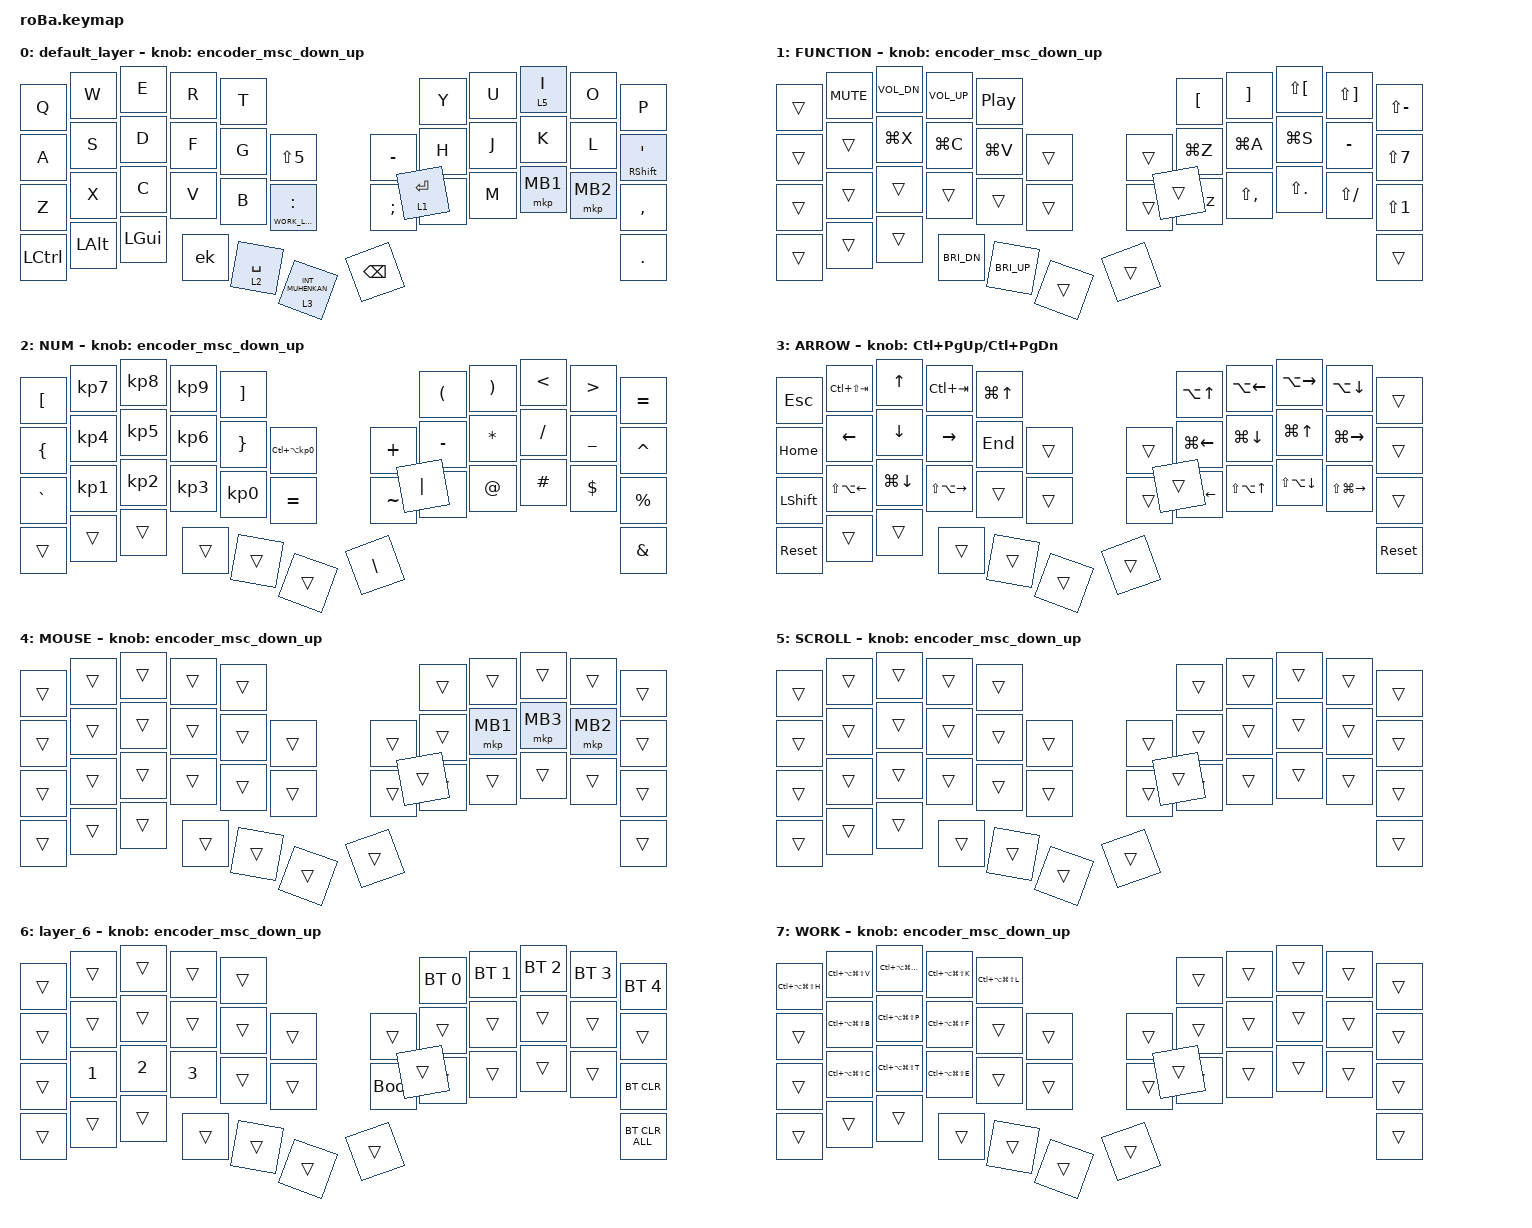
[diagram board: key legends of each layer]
// このキーマップ全体で使う基本ビヘイビアとキーコード定義。
// エンコーダのスクロール量を調整（SCRL_UP/DOWN に反映）。

#define ZMK_POINTING_DEFAULT_SCRL_VAL 80

#include <behaviors.dtsi>
#include <dt-bindings/zmk/bt.h>
#include <dt-bindings/zmk/keys.h>
#include <dt-bindings/zmk/pointing.h>

// 左エンコーダのスクロール量（小さいほど滑らか）。

#define ENCODER_SCROLL_STEP 4
#define ENC_SCRL_UP MOVE_Y(ENCODER_SCROLL_STEP)
#define ENC_SCRL_DOWN MOVE_Y(-ENCODER_SCROLL_STEP)

// ホールド判定を長めにする共通タッピング時間。

#define HOLD_TAPPING_TERM_MS 198
#define WORK_LAYER 7

// &mt のモッドタップ設定を共通調整。

&mt {
    flavor = "balanced";
    quick-tap-ms = <0>;
    tapping-term-ms = <HOLD_TAPPING_TERM_MS>;
};

// &lt のレイヤータップ判定を共通調整。

&lt { tapping-term-ms = <HOLD_TAPPING_TERM_MS>; };

// トラックボールの動作設定（レイヤ番号は下のキーマップ参照）。

&trackball {
    // Disable auto layer switching to avoid unintended clicks.

    automouse-layer = <0>;
    scroll-layers = <5>;

    // arrows {
    //     layers = <3>;
    //     bindings =
    //         <&kp RIGHT_ARROW>,
    //         <&kp LEFT_ARROW>,
    //         <&kp UP_ARROW>,
    //         <&kp DOWN_ARROW>;
    //     tick = <10>;
    //     wait-ms = <5>;
    //     tap-ms = <5>;
    // };
};

/ {
    combos {
        compatible = "zmk,combos";

        // よく使う操作の2キーコンボ。

        tab {
            bindings = <&kp TAB>;
            key-positions = <11 12>;
        };

        shift_tab {
            bindings = <&kp LS(TAB)>;
            key-positions = <12 13>;
        };

        muhennkann {
            bindings = <&to_layer_0 INT_MUHENKAN>;
            key-positions = <11 10>;
        };

        double_quotation {
            bindings = <&kp DOUBLE_QUOTES>;
            key-positions = <20 21>;
        };

        eq {
            bindings = <&kp EQUAL>;
            key-positions = <7 8>;
        };

        esc {
            bindings = <&kp ESCAPE>;
            key-positions = <0 1>;
        };

        caps_word {
            bindings = <&caps_word>;
            key-positions = <13 16>;
        };

        cmd_s {
            bindings = <&kp LG(S)>;
            key-positions = <11 12>;
        };

        cmd_z {
            bindings = <&kp LG(Z)>;
            key-positions = <20 21>;
        };

        slash {
            bindings = <&kp SLASH>;
            key-positions = <31 32>;
        };

        screenShot {
            bindings = <&kp LG(LS(N5))>;
            key-positions = <26 27>;
        };
    };

    macros {
        // ベースレイヤへ移動後、引数のキーコードを送るマクロ。

        to_layer_0: to_layer_0 {
            compatible = "zmk,behavior-macro-one-param";
            #binding-cells = <1>;
            bindings = <&to 0 &macro_param_1to1 &kp MACRO_PLACEHOLDER>;
            label = "TO_LAYER_0";
        };
    };

    behaviors {
        // ホールド時はモーメンタリ、タップ時はベースレイヤへ移動。

        lt_to_layer_0: lt_to_layer_0 {
            compatible = "zmk,behavior-hold-tap";
            label = "LAYER_TAP_TO_0";
            bindings = <&mo>, <&to_layer_0>;

            #binding-cells = <2>;
            tapping-term-ms = <HOLD_TAPPING_TERM_MS>;
        };

        // 左内側キーはタップでコロン、ホールドで WORK レイヤ。

        work_colon: work_colon {
            compatible = "zmk,behavior-hold-tap";
            label = "COLON / WORK";
            bindings = <&mo>, <&kp>;

            #binding-cells = <2>;
            tapping-term-ms = <HOLD_TAPPING_TERM_MS>;
            flavor = "tap-preferred";
        };

        // エンコーダ回転で滑らかなホイールスクロールを送信。

        enc_scroll: enc_scroll {
            compatible = "zmk,behavior-sensor-rotate-var";
            #sensor-binding-cells = <2>;
            bindings = <&msc>, <&msc>;
        };

        // エンコーダ回転でマウススクロール（下→上の順）。

        encoder_msc_down_up: encoder_msc_down_up {
            compatible = "zmk,behavior-sensor-rotate";
            label = "ENCODER_MSC_DOWN_UP";
            #sensor-binding-cells = <0>;
            bindings = <&msc SCRL_DOWN>, <&msc SCRL_UP>;

            tap-ms = <20>;
        };

        // タップで英数、ホールドでシフト（シングルタップ用）

        ek_hold: eisu_kana_hold {
            compatible = "zmk,behavior-hold-tap";
            #binding-cells = <2>;
            bindings = <&kp>, <&kp>;

            tapping-term-ms = <HOLD_TAPPING_TERM_MS>;
            flavor = "balanced";
        };

        // 親指キー用の英数／かな切り替えタップダンス。
        // シングルタップ: 英数 (ホールドでシフト)
        // ダブルタップ: かな

        ek: eisu_kana {
            compatible = "zmk,behavior-tap-dance";
            label = "Eisu / Kana";
            #binding-cells = <0>;
            bindings = <&ek_hold LEFT_SHIFT LANGUAGE_2>, <&kp LANGUAGE_1>;

            tapping-term-ms = <250>;
        };
    };

    keymap {
        compatible = "zmk,keymap";

        // エンコーダスクロール付きの基本タイピングレイヤ。

        default_layer {
            bindings = <
&kp Q      &kp W     &kp E     &kp R  &kp T                                                          &kp Y        &kp U  &lt 5 I   &kp O     &kp P
&kp A      &kp S     &kp D     &kp F  &kp G        &kp LS(N5)                         &kp MINUS      &kp H        &kp J  &kp K     &kp L     &mt RIGHT_SHIFT SQT
&kp Z      &kp X     &kp C     &kp V  &kp B        &work_colon WORK_LAYER COLON       &kp SEMICOLON  &kp N        &kp M  &mkp MB1  &mkp MB2  &kp COMMA
&kp LCTRL  &kp LALT  &kp LGUI  &ek    &lt 2 SPACE  &lt_to_layer_0 3 INT_MUHENKAN      &kp BACKSPACE  &lt 1 ENTER                             &kp PERIOD
            >;

            // エンコーダでスムーズスクロール。

            sensor-bindings = <&encoder_msc_down_up>;
        };

        // 編集・メディア用レイヤ（日本語記号対応）。

        FUNCTION {
            bindings = <
&trans  &kp C_MUTE  &kp C_VOL_DN  &kp C_VOL_UP  &kp C_PLAY_PAUSE                      &kp LBKT       &kp RBKT       &kp LS(LBKT)  &kp LS(RBKT)   &kp LS(MINUS)
&trans  &trans      &kp LG(X)     &kp LG(C)     &kp LG(V)         &trans      &trans  &kp LG(Z)      &kp LG(A)      &kp LG(S)     &kp MINUS      &kp LS(N7)
&trans  &trans      &trans        &trans        &trans            &trans      &trans  &kp LG(LS(Z))  &kp LS(COMMA)  &kp LS(DOT)   &kp LS(SLASH)  &kp LS(N1)
&trans  &trans      &trans        &kp C_BRI_DN  &kp C_BRI_UP      &trans      &trans  &trans                                                     &trans
            >;

            sensor-bindings = <&encoder_msc_down_up>;
        };

        // コーディング記号レイヤ。

        NUM {
            bindings = <
&kp LEFT_BRACKET  &kp KP_NUMBER_7  &kp KP_NUMBER_8  &kp KP_NUMBER_9  &kp RIGHT_BRACKET                                              &kp LEFT_PARENTHESIS  &kp RIGHT_PARENTHESIS  &kp LESS_THAN  &kp GREATER_THAN  &kp EQUAL
&kp LEFT_BRACE    &kp KP_NUMBER_4  &kp KP_NUMBER_5  &kp KP_NUMBER_6  &kp RIGHT_BRACE    &kp LC(LA(KP_NUMBER_0))      &kp PLUS       &kp MINUS             &kp ASTERISK           &kp SLASH      &kp UNDERSCORE    &kp CARET
&kp GRAVE         &kp KP_NUMBER_1  &kp KP_NUMBER_2  &kp KP_NUMBER_3  &kp KP_NUMBER_0    &kp EQUAL                    &kp TILDE      &kp EXCLAMATION       &kp AT_SIGN            &kp HASH       &kp DOLLAR        &kp PERCENT
&trans            &trans           &trans           &trans           &trans             &trans                       &kp BACKSLASH  &kp PIPE                                                                      &kp AMPERSAND
            >;

            sensor-bindings = <&encoder_msc_down_up>;
        };

        // ナビゲーションレイヤ（Mac標準のテキスト移動）。

        ARROW {
            bindings = <
&kp ESCAPE      &kp LC(LS(TAB))   &kp UP_ARROW    &kp LC(TAB)        &kp LG(UP)                      &kp LA(UP)        &kp LA(LEFT)    &kp LA(RIGHT)     &kp LA(DOWN)       &trans
&kp HOME        &kp LEFT_ARROW    &kp DOWN_ARROW  &kp RIGHT_ARROW    &kp END     &trans      &trans  &kp LG(LEFT)      &kp LG(DOWN)    &kp LG(UP)        &kp LG(RIGHT)      &trans
&kp LEFT_SHIFT  &kp LS(LA(LEFT))  &kp LG(DOWN)    &kp LS(LA(RIGHT))  &trans      &trans      &trans  &kp LS(LG(LEFT))  &kp LS(LA(UP))  &kp LS(LA(DOWN))  &kp LS(LG(RIGHT))  &trans
&sys_reset      &trans            &trans          &trans             &trans      &trans      &trans  &trans                                                                 &sys_reset
            >;

            sensor-bindings = <&inc_dec_kp LC(PAGE_UP) LC(PAGE_DOWN)>;
        };

        // マウスボタン用レイヤ。

        MOUSE {
            bindings = <
&trans  &trans  &trans  &trans  &trans                      &trans  &trans    &trans    &trans    &trans
&trans  &trans  &trans  &trans  &trans  &trans      &trans  &trans  &mkp MB1  &mkp MB3  &mkp MB2  &trans
&trans  &trans  &trans  &trans  &trans  &trans      &trans  &trans  &trans    &trans    &trans    &trans
&trans  &trans  &trans  &trans  &trans  &trans      &trans  &trans                                &trans
            >;

            sensor-bindings = <&encoder_msc_down_up>;
        };

        // スクロールレイヤ（トラックボールのスクロールモード用）。

        SCROLL {
            bindings = <
&trans  &trans  &trans  &trans  &trans                      &trans  &trans  &trans  &trans  &trans
&trans  &trans  &trans  &trans  &trans  &trans      &trans  &trans  &trans  &trans  &trans  &trans
&trans  &trans  &trans  &trans  &trans  &trans      &trans  &trans  &trans  &trans  &trans  &trans
&trans  &trans  &trans  &trans  &trans  &trans      &trans  &trans                          &trans
            >;

            sensor-bindings = <&encoder_msc_down_up>;
        };

        // Bluetooth 管理／ブートローダーレイヤ。

        layer_6 {
            bindings = <
&trans  &trans        &trans        &trans        &trans                           &bt BT_SEL 0  &bt BT_SEL 1  &bt BT_SEL 2  &bt BT_SEL 3  &bt BT_SEL 4
&trans  &trans        &trans        &trans        &trans  &trans      &trans       &trans        &trans        &trans        &trans        &trans
&trans  &kp NUMBER_1  &kp NUMBER_2  &kp NUMBER_3  &trans  &trans      &bootloader  &trans        &trans        &trans        &trans        &bt BT_CLR
&trans  &trans        &trans        &trans        &trans  &trans      &trans       &trans                                                  &bt BT_CLR_ALL
            >;

            sensor-bindings = <&encoder_msc_down_up>;
        };

        // Mac 側の logical Hyper actions だけを送る左手 WORK レイヤ。

        WORK {
            bindings = <
&kp LC(LA(LG(LS(H))))  &kp LC(LA(LG(LS(V))))  &kp LC(LA(LG(LS(M))))  &kp LC(LA(LG(LS(K))))  &kp LC(LA(LG(LS(L))))                      &trans  &trans  &trans  &trans  &trans
&trans                  &kp LC(LA(LG(LS(B))))  &kp LC(LA(LG(LS(P))))  &kp LC(LA(LG(LS(F))))  &trans                  &trans      &trans  &trans  &trans  &trans  &trans  &trans
&trans                  &kp LC(LA(LG(LS(C))))  &kp LC(LA(LG(LS(T))))  &kp LC(LA(LG(LS(E))))  &trans                  &trans      &trans  &trans  &trans  &trans  &trans  &trans
&trans                  &trans                  &trans                  &trans                  &trans                  &trans      &trans  &trans                          &trans
            >;

            sensor-bindings = <&encoder_msc_down_up>;
        };
    };
};
